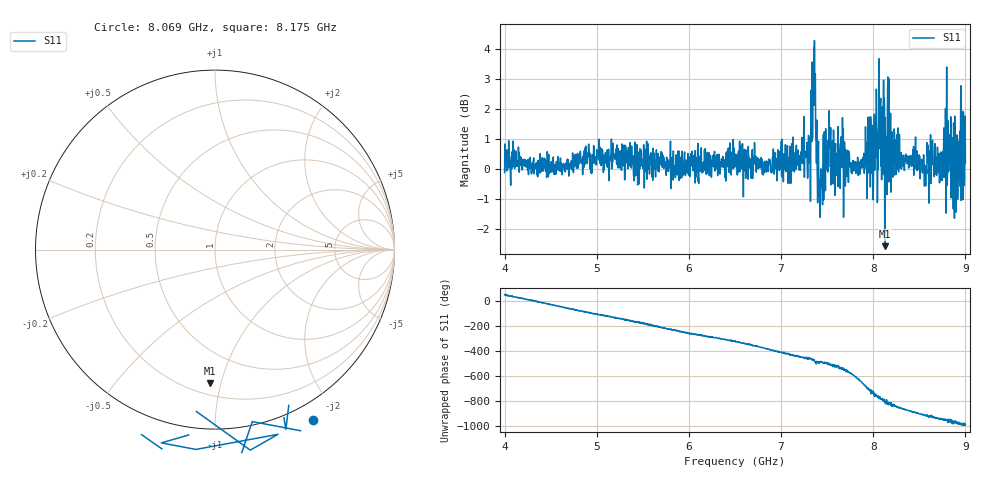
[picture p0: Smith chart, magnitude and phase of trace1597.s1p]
! Created with skrf 1.8.0 (http://scikit-rf.org).
# Hz S RI R 50.0
!freq ReS11 ImS11
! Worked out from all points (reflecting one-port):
!   1601 points, 4 GHz to 9 GHz, reference 50 ohm
!   lowest |S11| = -2.6 dB at 8.125 GHz (marker M1), VSWR 6.83, Z = 13.9 - j46.3 ohm
!   phase of S11 starts at 53 deg and turns -1042 deg over the sweep
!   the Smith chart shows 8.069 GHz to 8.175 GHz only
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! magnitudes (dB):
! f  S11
! 4 GHz  -0.1
! 4.1 GHz  0.7
! 4.625 GHz  -0.2
! 5.25 GHz  0.0
! 5.875 GHz  0.2
! 6.5 GHz  0.4
! 7.125 GHz  0.3
! 7.294 GHz  0.4
! 7.35 GHz  2.7
! 7.381 GHz  1.0
! 7.4 GHz  0.5
! 7.431 GHz  0.0
! 7.509 GHz  -0.1
! 7.609 GHz  0.5
! 7.669 GHz  1.1
! 7.703 GHz  -0.1
! 7.75 GHz  0.1
! 8.022 GHz  1.3
! 8.088 GHz  0.6
! 8.125 GHz  -2.6
! 8.162 GHz  1.2
! 8.216 GHz  0.9
! 8.375 GHz  0.4
! 8.728 GHz  -0.4
! 8.819 GHz  0.9
! 8.875 GHz  1.0
! 8.959 GHz  2.0
! 9 GHz  0.2
